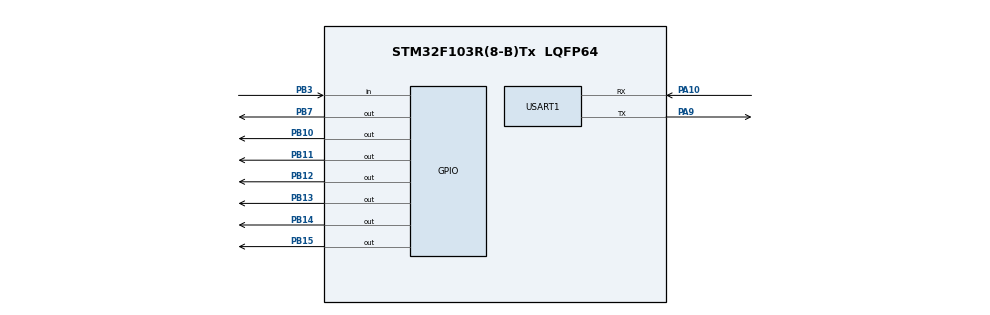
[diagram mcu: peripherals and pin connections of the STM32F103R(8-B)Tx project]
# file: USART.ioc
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Mcu.Family=STM32F1
Mcu.Name=STM32F103R(8-B)Tx
Mcu.Package=LQFP64
NVIC.PriorityGroup=NVIC_PRIORITYGROUP_4
PA10.Mode=Asynchronous
PA10.Signal=USART1_RX
PA9.Mode=Asynchronous
PA9.Signal=USART1_TX
PB10.Signal=GPIO_Output
PB11.Signal=GPIO_Output
PB12.Signal=GPIO_Output
PB13.Signal=GPIO_Output
PB14.Signal=GPIO_Output
PB15.Signal=GPIO_Output
PB3.Signal=GPIO_Input
PB7.Signal=GPIO_Output
PC14-OSC32_IN.Mode=LSE-External-Oscillator
PC14-OSC32_IN.Signal=RCC_OSC32_IN
PC15-OSC32_OUT.Mode=LSE-External-Oscillator
PC15-OSC32_OUT.Signal=RCC_OSC32_OUT
ProjectManager.HeapSize=0x200
ProjectManager.StackSize=0x400
ProjectManager.TargetToolchain=STM32CubeIDE
RCC.APB1Freq_Value=8000000
RCC.APB2Freq_Value=8000000
USART1.VirtualMode=VM_ASYNC
VP_SYS_VS_ND.Mode=No_Debug
board=custom

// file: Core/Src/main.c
/* USER CODE BEGIN Header */
/**
  ******************************************************************************
  * @file           : main.c
  * @brief          : Main program body
  ******************************************************************************
  * @attention
  *
  * Copyright (c) 2024 STMicroelectronics.
  * All rights reserved.
  *
  * This software is licensed under terms that can be found in the LICENSE file
  * in the root directory of this software component.
  * If no LICENSE file comes with this software, it is provided AS-IS.
  *
  ******************************************************************************
  */
/* USER CODE END Header */
#include "main.h"
#include "lcd.h"

UART_HandleTypeDef huart1;

void SystemClock_Config(void);
static void MX_GPIO_Init(void);
static void MX_USART1_UART_Init(void);
/* USER CODE BEGIN PFP */
uint8_t Tx0[] = "LED IS ON";
uint8_t NewLine[] = "\r\n";
uint8_t Tx1[] = "LED IS OFF";
int B3 = 0;
//uint8_t Rx[2]={0};

/* USER CODE END PFP */

int main(void)
{

  /* MCU Configuration--------------------------------------------------------*/

  /* Reset of all peripherals, Initializes the Flash interface and the Systick. */
  HAL_Init();

  /* Configure the system clock */
  SystemClock_Config();

  /* Initialize all configured peripherals */
  MX_GPIO_Init();
  MX_USART1_UART_Init();
  lcd_init();
  lcd_puts(0,0,(int8_t*)"LED Condition");
  HAL_Delay(200);
  lcd_clear();

  /* Infinite loop */
  /* USER CODE BEGIN WHILE */
  while (1)
  {

	  //HAL_UART_Receive(&huart1, Rx, sizeof(Rx), 5000);
      B3 = HAL_GPIO_ReadPin(GPIOB, GPIO_PIN_3);
      lcd_clear();
	   	    if(B3==1)
	   	    {
	   	     HAL_UART_Transmit(&huart1, NewLine,sizeof(NewLine), 25);
	   	     HAL_UART_Transmit(&huart1, Tx0, sizeof(Tx0), 25);
	   	     HAL_GPIO_WritePin(GPIOB, GPIO_PIN_7, GPIO_PIN_SET);
	   	     lcd_puts(0,0,(int8_t*)"LED IS ON");

	   	    }
	   	    else
	   	    {
	   	     	HAL_UART_Transmit(&huart1, NewLine,sizeof(NewLine), 25);
	   	        HAL_UART_Transmit(&huart1, Tx1, sizeof(Tx1), 25);
	   	        HAL_GPIO_WritePin(GPIOB, GPIO_PIN_7, GPIO_PIN_RESET);
	   	        lcd_puts(1,0,(int8_t*)"LED IS OFF");

	   	    }

    /* USER CODE END WHILE */

  }
}

void SystemClock_Config(void)
{
  RCC_OscInitTypeDef RCC_OscInitStruct = {0};
  RCC_ClkInitTypeDef RCC_ClkInitStruct = {0};

  /** Initializes the RCC Oscillators according to the specified parameters
  * in the RCC_OscInitTypeDef structure.
  */
  RCC_OscInitStruct.OscillatorType = RCC_OSCILLATORTYPE_HSI;
  RCC_OscInitStruct.HSIState = RCC_HSI_ON;
  RCC_OscInitStruct.HSICalibrationValue = RCC_HSICALIBRATION_DEFAULT;
  RCC_OscInitStruct.PLL.PLLState = RCC_PLL_NONE;
  if (HAL_RCC_OscConfig(&RCC_OscInitStruct) != HAL_OK)
  {
    Error_Handler();
  }

  /** Initializes the CPU, AHB and APB buses clocks
  */
  RCC_ClkInitStruct.ClockType = RCC_CLOCKTYPE_HCLK|RCC_CLOCKTYPE_SYSCLK
                              |RCC_CLOCKTYPE_PCLK1|RCC_CLOCKTYPE_PCLK2;
  RCC_ClkInitStruct.SYSCLKSource = RCC_SYSCLKSOURCE_HSI;
  RCC_ClkInitStruct.AHBCLKDivider = RCC_SYSCLK_DIV1;
  RCC_ClkInitStruct.APB1CLKDivider = RCC_HCLK_DIV1;
  RCC_ClkInitStruct.APB2CLKDivider = RCC_HCLK_DIV1;

  if (HAL_RCC_ClockConfig(&RCC_ClkInitStruct, FLASH_LATENCY_0) != HAL_OK)
  {
    Error_Handler();
  }
}

static void MX_USART1_UART_Init(void)
{

  huart1.Instance = USART1;
  huart1.Init.BaudRate = 9600;
  huart1.Init.WordLength = UART_WORDLENGTH_8B;
  huart1.Init.StopBits = UART_STOPBITS_1;
  huart1.Init.Parity = UART_PARITY_NONE;
  huart1.Init.Mode = UART_MODE_TX_RX;
  huart1.Init.HwFlowCtl = UART_HWCONTROL_NONE;
  huart1.Init.OverSampling = UART_OVERSAMPLING_16;
  if (HAL_UART_Init(&huart1) != HAL_OK)
  {
    Error_Handler();
  }

}

static void MX_GPIO_Init(void)
{
  GPIO_InitTypeDef GPIO_InitStruct = {0};

  /* GPIO Ports Clock Enable */
  __HAL_RCC_GPIOC_CLK_ENABLE();
  __HAL_RCC_GPIOB_CLK_ENABLE();
  __HAL_RCC_GPIOA_CLK_ENABLE();

  /*Configure GPIO pin Output Level */
  HAL_GPIO_WritePin(GPIOB, GPIO_PIN_10|GPIO_PIN_11|GPIO_PIN_12|GPIO_PIN_13
                          |GPIO_PIN_14|GPIO_PIN_15|GPIO_PIN_7, GPIO_PIN_RESET);

  /*Configure GPIO pins : PB10 PB11 PB12 PB13
                           PB14 PB15 PB7 */
  GPIO_InitStruct.Pin = GPIO_PIN_10|GPIO_PIN_11|GPIO_PIN_12|GPIO_PIN_13
                          |GPIO_PIN_14|GPIO_PIN_15|GPIO_PIN_7;
  GPIO_InitStruct.Mode = GPIO_MODE_OUTPUT_PP;
  GPIO_InitStruct.Pull = GPIO_NOPULL;
  GPIO_InitStruct.Speed = GPIO_SPEED_FREQ_LOW;
  HAL_GPIO_Init(GPIOB, &GPIO_InitStruct);

  /*Configure GPIO pin : PB3 */
  GPIO_InitStruct.Pin = GPIO_PIN_3;
  GPIO_InitStruct.Mode = GPIO_MODE_INPUT;
  GPIO_InitStruct.Pull = GPIO_NOPULL;
  HAL_GPIO_Init(GPIOB, &GPIO_InitStruct);

}

void Error_Handler(void)
{
  __disable_irq();
  while (1)
  {
  }
}
